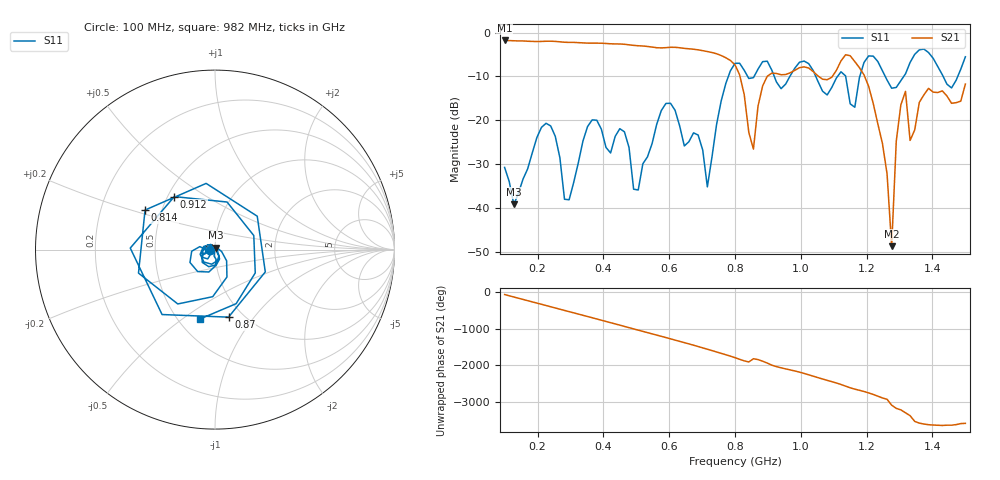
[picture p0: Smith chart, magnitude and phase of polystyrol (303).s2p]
! NanoVNA-App
! Date: 2025-09-25 15:32:15
! Start: 100MHz Stop: 1,5GHz Points: 101
! S-Parameter data: F S11 S21 S12 S22
# Hz S RI R 50
!  Frequency  S11_Real  S11_Imag  S21_Real  S21_Imag  S12_Real  S12_Imag  S22_Real  S22_Imag
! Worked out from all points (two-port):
!   101 points, 100 MHz to 1.5 GHz, reference 50 ohm
!   highest |S21| = -1.80 dB at 100 MHz (marker M1); lowest = -48.6 dB at 1.276 GHz (marker M2)
!   |S21| within 3 dB of the highest: start of sweep to 742.8 MHz
!   lowest |S11| = -39.1 dB at 128 MHz (marker M3), VSWR 1.02, Z = 50.3 + j1.06 ohm
!   |S11| at or under -10 dB: start of sweep to 779.8 MHz; 1.046 GHz to 1.111 GHz (65.96 MHz wide, 6.12 % of centre); 1.257 GHz to 1.313 GHz (55.98 MHz wide, 4.36 % of centre)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
!   S12 and S22 are empty: the file has one direction only
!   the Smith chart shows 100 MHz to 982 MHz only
!   S11 on the Smith chart (normalised r, x): 100 MHz: 0.94, -0.01; 814 MHz: 0.40, +0.22; 870 MHz: 0.86, -0.76; 912 MHz: 0.54, +0.37; 982 MHz: 0.64, -0.59
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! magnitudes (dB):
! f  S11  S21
! 100 MHz  -30.7  -1.8
! 128 MHz  -39.1  -1.9
! 212 MHz  -21.6  -2.0
! 282 MHz  -38.0  -2.2
! 338 MHz  -24.7  -2.4
! 464 MHz  -22.6  -2.7
! 506 MHz  -35.8  -3.0
! 576 MHz  -17.8  -3.5
! 716 MHz  -35.1  -4.3
! 800 MHz  -7.0  -7.4
! 814 MHz  -7.0  -9.6
! 856 MHz  -10.3  -26.5
! 870 MHz  -8.3  -16.7
! 912 MHz  -8.6  -9.2
! 982 MHz  -8.1  -8.6
! 1.038 GHz  -8.7  -8.9
! 1.192 GHz  -6.8  -9.6
! 1.276 GHz  -12.7  -48.6
! 1.29 GHz  -12.5  -24.7
! 1.318 GHz  -9.4  -13.4
! 1.332 GHz  -6.8  -24.6
! 1.5 GHz  -5.5  -11.7
